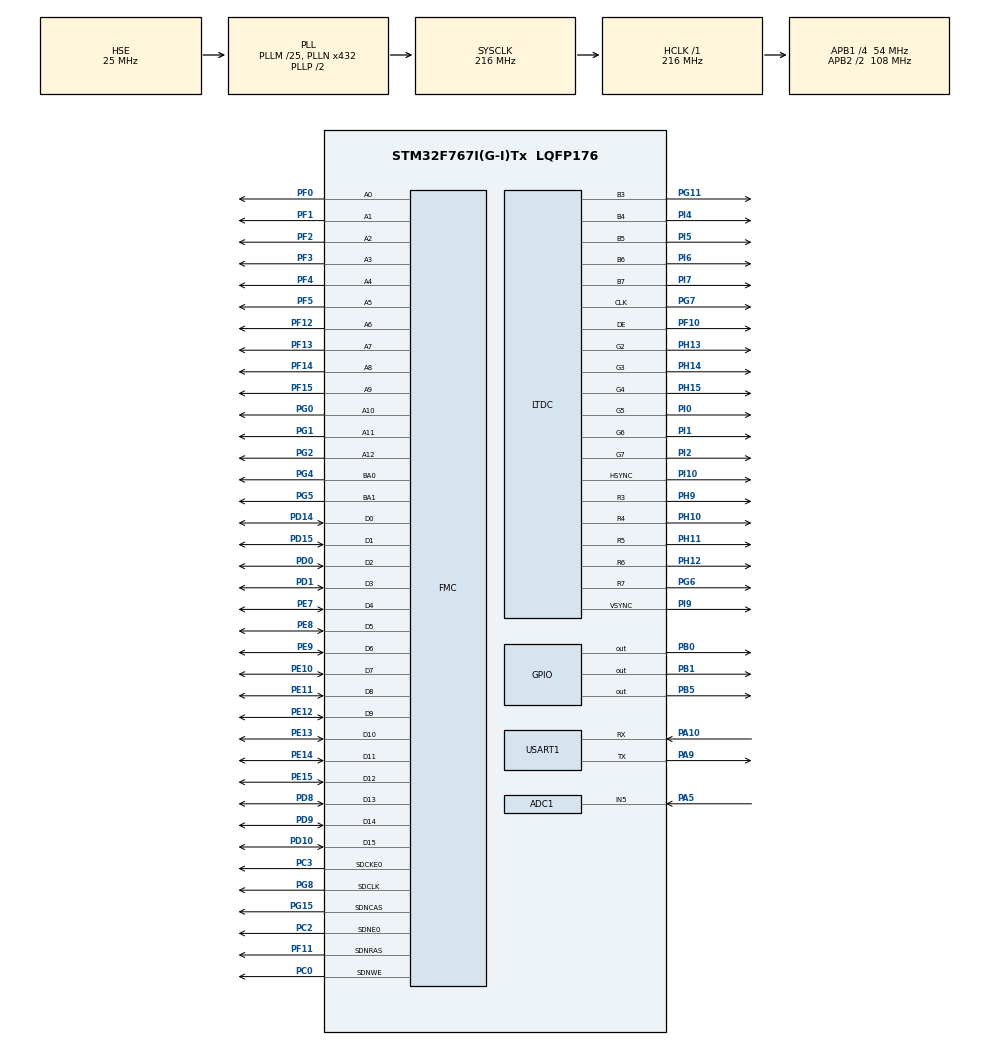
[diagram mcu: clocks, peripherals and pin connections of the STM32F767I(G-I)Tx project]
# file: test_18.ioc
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ADC1.Channel-0\#ChannelRegularConversion=ADC_CHANNEL_5
ADC1.InjNumberOfConversion=0
ADC1.NbrOfConversionFlag=1
ADC1.Rank-0\#ChannelRegularConversion=1
ADC1.SamplingTime-0\#ChannelRegularConversion=ADC_SAMPLETIME_480CYCLES
ADC1.master=1
CORTEX_M7.MPU_Control=__NULL
CORTEX_M7.default_mode_Activation=1
DMA2D.ColorMode=DMA2D_OUTPUT_RGB565
FMC.CASLatency1=FMC_SDRAM_CAS_LATENCY_3
FMC.ColumnBitsNumber1=FMC_SDRAM_COLUMN_BITS_NUM_9
FMC.ExitSelfRefreshDelay1=8
FMC.LoadToActiveDelay1=2
FMC.RCDDelay1=2
FMC.RPDelay1=2
FMC.ReadBurst1=FMC_SDRAM_RBURST_ENABLE
FMC.ReadPipeDelay1=FMC_SDRAM_RPIPE_DELAY_1
FMC.RowCycleDelay1=6
FMC.SDClockPeriod1=FMC_SDRAM_CLOCK_PERIOD_2
FMC.SelfRefreshTime1=6
FMC.WriteRecoveryTime1=4
LTDC.ActiveW=800
LTDC.Alpha_L0=255
LTDC.BlendingFactor1_L0=LTDC_BLENDING_FACTOR1_PAxCA
LTDC.BlendingFactor2_L0=LTDC_BLENDING_FACTOR2_PAxCA
LTDC.FBStartAdress_L0=0xc0000000
LTDC.HBP=88
LTDC.HFP=40
LTDC.HSync=48
LTDC.ImageHeight_L0=480
LTDC.ImageWidth_L0=800
LTDC.ImageWidth_L1=0
LTDC.PixelFormat_L0=LTDC_PIXEL_FORMAT_RGB565
LTDC.PixelFormat_L1=LTDC_PIXEL_FORMAT_RGB565
LTDC.VBP=32
LTDC.VFP=13
LTDC.VSync=3
LTDC.WindowX1_L0=800
LTDC.WindowY1_L0=480
Mcu.Family=STM32F7
Mcu.Name=STM32F767I(G-I)Tx
Mcu.Package=LQFP176
NVIC.PriorityGroup=NVIC_PRIORITYGROUP_4
NVIC.USART1_IRQn=true\:0\:0\:false\:false\:true\:true\:true\:true
PA10.GPIO_PuPd=GPIO_PULLUP
PA10.GPIO_Speed=GPIO_SPEED_FREQ_HIGH
PA10.Mode=Asynchronous
PA10.Signal=USART1_RX
PA5.Signal=ADCx_IN5
PA9.GPIO_ModeDefaultPP=GPIO_MODE_AF_PP
PA9.GPIO_PuPd=GPIO_PULLUP
PA9.GPIO_Speed=GPIO_SPEED_FREQ_HIGH
PA9.Mode=Asynchronous
PA9.Signal=USART1_TX
PB0.GPIO_PuPd=GPIO_PULLUP
PB0.GPIO_Speed=GPIO_SPEED_FREQ_HIGH
PB0.PinState=GPIO_PIN_SET
PB0.Signal=GPIO_Output
PB1.GPIO_PuPd=GPIO_PULLUP
PB1.GPIO_Speed=GPIO_SPEED_FREQ_HIGH
PB1.PinState=GPIO_PIN_SET
PB1.Signal=GPIO_Output
PB5.GPIO_PuPd=GPIO_PULLUP
PB5.GPIO_Speed=GPIO_SPEED_FREQ_HIGH
PB5.Signal=GPIO_Output
PC0.GPIO_Mode=GPIO_MODE_AF_PP
PC0.GPIO_PuPd=GPIO_PULLUP
PC0.GPIO_Speed_High_Default=GPIO_SPEED_FREQ_HIGH
PC0.Signal=FMC_SDNWE
PC14/OSC32_IN.Mode=LSE-External-Oscillator
PC14/OSC32_IN.Signal=RCC_OSC32_IN
PC15/OSC32_OUT.Mode=LSE-External-Oscillator
PC15/OSC32_OUT.Signal=RCC_OSC32_OUT
PC2.GPIO_Mode=GPIO_MODE_AF_PP
PC2.GPIO_PuPd=GPIO_PULLUP
PC2.GPIO_Speed_High_Default=GPIO_SPEED_FREQ_HIGH
PC2.Mode=SdramChipSelect1_1
PC2.Signal=FMC_SDNE0
PC3.GPIO_Mode=GPIO_MODE_AF_PP
PC3.GPIO_PuPd=GPIO_PULLUP
PC3.GPIO_Speed_High_Default=GPIO_SPEED_FREQ_HIGH
PC3.Mode=SdramChipSelect1_1
PC3.Signal=FMC_SDCKE0
PD0.GPIO_Mode=GPIO_MODE_AF_PP
PD0.GPIO_PuPd=GPIO_PULLUP
PD0.GPIO_Speed_High_Default=GPIO_SPEED_FREQ_HIGH
PD0.Signal=FMC_D2_DA2
PD1.GPIO_Mode=GPIO_MODE_AF_PP
PD1.GPIO_PuPd=GPIO_PULLUP
PD1.GPIO_Speed_High_Default=GPIO_SPEED_FREQ_HIGH
PD1.Signal=FMC_D3_DA3
PD10.GPIO_Mode=GPIO_MODE_AF_PP
PD10.GPIO_PuPd=GPIO_PULLUP
PD10.GPIO_Speed_High_Default=GPIO_SPEED_FREQ_HIGH
PD10.Signal=FMC_D15_DA15
PD14.GPIO_Mode=GPIO_MODE_AF_PP
PD14.GPIO_PuPd=GPIO_PULLUP
PD14.GPIO_Speed_High_Default=GPIO_SPEED_FREQ_HIGH
PD14.Signal=FMC_D0_DA0
PD15.GPIO_Mode=GPIO_MODE_AF_PP
PD15.GPIO_PuPd=GPIO_PULLUP
PD15.GPIO_Speed_High_Default=GPIO_SPEED_FREQ_HIGH
PD15.Signal=FMC_D1_DA1
PD8.GPIO_Mode=GPIO_MODE_AF_PP
PD8.GPIO_PuPd=GPIO_PULLUP
PD8.GPIO_Speed_High_Default=GPIO_SPEED_FREQ_HIGH
PD8.Signal=FMC_D13_DA13
PD9.GPIO_Mode=GPIO_MODE_AF_PP
PD9.GPIO_PuPd=GPIO_PULLUP
PD9.GPIO_Speed_High_Default=GPIO_SPEED_FREQ_HIGH
PD9.Signal=FMC_D14_DA14
PE0.GPIO_Mode=GPIO_MODE_AF_PP
PE0.GPIO_PuPd=GPIO_PULLUP
PE0.GPIO_Speed_High_Default=GPIO_SPEED_FREQ_HIGH
PE0.Signal=FMC_NBL0
PE1.GPIO_Mode=GPIO_MODE_AF_PP
PE1.GPIO_PuPd=GPIO_PULLUP
PE1.GPIO_Speed_High_Default=GPIO_SPEED_FREQ_HIGH
PE1.Signal=FMC_NBL1
PE10.GPIO_Mode=GPIO_MODE_AF_PP
PE10.GPIO_PuPd=GPIO_PULLUP
PE10.GPIO_Speed_High_Default=GPIO_SPEED_FREQ_HIGH
PE10.Signal=FMC_D7_DA7
PE11.GPIO_Mode=GPIO_MODE_AF_PP
PE11.GPIO_PuPd=GPIO_PULLUP
PE11.GPIO_Speed_High_Default=GPIO_SPEED_FREQ_HIGH
PE11.Signal=FMC_D8_DA8
PE12.GPIO_Mode=GPIO_MODE_AF_PP
PE12.GPIO_PuPd=GPIO_PULLUP
PE12.GPIO_Speed_High_Default=GPIO_SPEED_FREQ_HIGH
PE12.Signal=FMC_D9_DA9
PE13.GPIO_Mode=GPIO_MODE_AF_PP
PE13.GPIO_PuPd=GPIO_PULLUP
PE13.GPIO_Speed_High_Default=GPIO_SPEED_FREQ_HIGH
PE13.Signal=FMC_D10_DA10
PE14.GPIO_Mode=GPIO_MODE_AF_PP
PE14.GPIO_PuPd=GPIO_PULLUP
PE14.GPIO_Speed_High_Default=GPIO_SPEED_FREQ_HIGH
PE14.Signal=FMC_D11_DA11
PE15.GPIO_Mode=GPIO_MODE_AF_PP
PE15.GPIO_PuPd=GPIO_PULLUP
PE15.GPIO_Speed_High_Default=GPIO_SPEED_FREQ_HIGH
PE15.Signal=FMC_D12_DA12
PE7.GPIO_Mode=GPIO_MODE_AF_PP
PE7.GPIO_PuPd=GPIO_PULLUP
PE7.GPIO_Speed_High_Default=GPIO_SPEED_FREQ_HIGH
PE7.Signal=FMC_D4_DA4
PE8.GPIO_Mode=GPIO_MODE_AF_PP
PE8.GPIO_PuPd=GPIO_PULLUP
PE8.GPIO_Speed_High_Default=GPIO_SPEED_FREQ_HIGH
PE8.Signal=FMC_D5_DA5
PE9.GPIO_Mode=GPIO_MODE_AF_PP
PE9.GPIO_PuPd=GPIO_PULLUP
PE9.GPIO_Speed_High_Default=GPIO_SPEED_FREQ_HIGH
PE9.Signal=FMC_D6_DA6
PF0.GPIO_Mode=GPIO_MODE_AF_PP
PF0.GPIO_PuPd=GPIO_PULLUP
PF0.GPIO_Speed_High_Default=GPIO_SPEED_FREQ_HIGH
PF0.Signal=FMC_A0
PF1.GPIO_Mode=GPIO_MODE_AF_PP
PF1.GPIO_PuPd=GPIO_PULLUP
PF1.GPIO_Speed_High_Default=GPIO_SPEED_FREQ_HIGH
PF1.Signal=FMC_A1
PF10.GPIO_PuPd=GPIO_NOPULL
PF10.GPIO_Speed=GPIO_SPEED_FREQ_HIGH
PF10.Mode=RGB565
PF10.Signal=LTDC_DE
PF11.GPIO_Mode=GPIO_MODE_AF_PP
PF11.GPIO_PuPd=GPIO_PULLUP
PF11.GPIO_Speed_High_Default=GPIO_SPEED_FREQ_HIGH
PF11.Signal=FMC_SDNRAS
PF12.GPIO_Mode=GPIO_MODE_AF_PP
PF12.GPIO_PuPd=GPIO_PULLUP
PF12.GPIO_Speed_High_Default=GPIO_SPEED_FREQ_HIGH
PF12.Signal=FMC_A6
PF13.GPIO_Mode=GPIO_MODE_AF_PP
PF13.GPIO_PuPd=GPIO_PULLUP
PF13.GPIO_Speed_High_Default=GPIO_SPEED_FREQ_HIGH
PF13.Signal=FMC_A7
PF14.GPIO_Mode=GPIO_MODE_AF_PP
PF14.GPIO_PuPd=GPIO_PULLUP
PF14.GPIO_Speed_High_Default=GPIO_SPEED_FREQ_HIGH
PF14.Signal=FMC_A8
PF15.GPIO_Mode=GPIO_MODE_AF_PP
PF15.GPIO_PuPd=GPIO_PULLUP
PF15.GPIO_Speed_High_Default=GPIO_SPEED_FREQ_HIGH
PF15.Signal=FMC_A9
PF2.GPIO_Mode=GPIO_MODE_AF_PP
PF2.GPIO_PuPd=GPIO_PULLUP
PF2.GPIO_Speed_High_Default=GPIO_SPEED_FREQ_HIGH
PF2.Signal=FMC_A2
PF3.GPIO_Mode=GPIO_MODE_AF_PP
PF3.GPIO_PuPd=GPIO_PULLUP
PF3.GPIO_Speed_High_Default=GPIO_SPEED_FREQ_HIGH
PF3.Signal=FMC_A3
PF4.GPIO_Mode=GPIO_MODE_AF_PP
PF4.GPIO_PuPd=GPIO_PULLUP
PF4.GPIO_Speed_High_Default=GPIO_SPEED_FREQ_HIGH
PF4.Signal=FMC_A4
PF5.GPIO_Mode=GPIO_MODE_AF_PP
PF5.GPIO_PuPd=GPIO_PULLUP
PF5.GPIO_Speed_High_Default=GPIO_SPEED_FREQ_HIGH
PF5.Signal=FMC_A5
PG0.GPIO_Mode=GPIO_MODE_AF_PP
PG0.GPIO_PuPd=GPIO_PULLUP
PG0.GPIO_Speed_High_Default=GPIO_SPEED_FREQ_HIGH
PG0.Signal=FMC_A10
PG1.GPIO_Mode=GPIO_MODE_AF_PP
PG1.GPIO_PuPd=GPIO_PULLUP
PG1.GPIO_Speed_High_Default=GPIO_SPEED_FREQ_HIGH
PG1.Signal=FMC_A11
PG11.GPIO_Mode=GPIO_MODE_AF_PP
PG11.GPIO_PuPd=GPIO_NOPULL
PG11.GPIO_Speed=GPIO_SPEED_FREQ_HIGH
PG11.Mode=RGB565
PG11.Signal=LTDC_B3
PG15.GPIO_Mode=GPIO_MODE_AF_PP
PG15.GPIO_PuPd=GPIO_PULLUP
PG15.GPIO_Speed_High_Default=GPIO_SPEED_FREQ_HIGH
PG15.Signal=FMC_SDNCAS
PG2.GPIO_Mode=GPIO_MODE_AF_PP
PG2.GPIO_PuPd=GPIO_PULLUP
PG2.GPIO_Speed_High_Default=GPIO_SPEED_FREQ_HIGH
PG2.Signal=FMC_A12
PG4.GPIO_Mode=GPIO_MODE_AF_PP
PG4.GPIO_PuPd=GPIO_PULLUP
PG4.GPIO_Speed_High_Default=GPIO_SPEED_FREQ_HIGH
PG4.Signal=FMC_A14_BA0
PG5.GPIO_Mode=GPIO_MODE_AF_PP
PG5.GPIO_PuPd=GPIO_PULLUP
PG5.GPIO_Speed_High_Default=GPIO_SPEED_FREQ_HIGH
PG5.Signal=FMC_A15_BA1
PG6.GPIO_Mode=GPIO_MODE_AF_PP
PG6.GPIO_PuPd=GPIO_NOPULL
PG6.GPIO_Speed=GPIO_SPEED_FREQ_HIGH
PG6.Mode=RGB565
PG6.Signal=LTDC_R7
PG7.GPIO_Mode=GPIO_MODE_AF_PP
PG7.GPIO_PuPd=GPIO_NOPULL
PG7.GPIO_Speed=GPIO_SPEED_FREQ_HIGH
PG7.Mode=RGB565
PG7.Signal=LTDC_CLK
PG8.GPIO_Mode=GPIO_MODE_AF_PP
PG8.GPIO_PuPd=GPIO_PULLUP
PG8.GPIO_Speed_High_Default=GPIO_SPEED_FREQ_HIGH
PG8.Signal=FMC_SDCLK
PH0/OSC_IN.Mode=HSE-External-Oscillator
PH0/OSC_IN.Signal=RCC_OSC_IN
PH1/OSC_OUT.Mode=HSE-External-Oscillator
PH1/OSC_OUT.Signal=RCC_OSC_OUT
PH10.GPIO_Mode=GPIO_MODE_AF_PP
PH10.GPIO_PuPd=GPIO_NOPULL
PH10.GPIO_Speed=GPIO_SPEED_FREQ_HIGH
PH10.Mode=RGB565
PH10.Signal=LTDC_R4
PH11.GPIO_Mode=GPIO_MODE_AF_PP
PH11.GPIO_PuPd=GPIO_NOPULL
PH11.GPIO_Speed=GPIO_SPEED_FREQ_HIGH
PH11.Mode=RGB565
PH11.Signal=LTDC_R5
PH12.GPIO_Mode=GPIO_MODE_AF_PP
PH12.GPIO_PuPd=GPIO_NOPULL
PH12.GPIO_Speed=GPIO_SPEED_FREQ_HIGH
PH12.Mode=RGB565
PH12.Signal=LTDC_R6
PH13.GPIO_Mode=GPIO_MODE_AF_PP
PH13.GPIO_PuPd=GPIO_NOPULL
PH13.GPIO_Speed=GPIO_SPEED_FREQ_HIGH
PH13.Mode=RGB565
PH13.Signal=LTDC_G2
PH14.GPIO_Mode=GPIO_MODE_AF_PP
PH14.GPIO_PuPd=GPIO_NOPULL
PH14.GPIO_Speed=GPIO_SPEED_FREQ_HIGH
PH14.Mode=RGB565
PH14.Signal=LTDC_G3
PH15.GPIO_Mode=GPIO_MODE_AF_PP
PH15.GPIO_PuPd=GPIO_NOPULL
PH15.GPIO_Speed=GPIO_SPEED_FREQ_HIGH
PH15.Mode=RGB565
PH15.Signal=LTDC_G4
PH9.GPIO_Mode=GPIO_MODE_AF_PP
PH9.GPIO_PuPd=GPIO_NOPULL
PH9.GPIO_Speed=GPIO_SPEED_FREQ_HIGH
PH9.Mode=RGB565
PH9.Signal=LTDC_R3
PI0.GPIO_Mode=GPIO_MODE_AF_PP
PI0.GPIO_PuPd=GPIO_NOPULL
PI0.GPIO_Speed=GPIO_SPEED_FREQ_HIGH
PI0.Mode=RGB565
PI0.Signal=LTDC_G5
PI1.GPIO_Mode=GPIO_MODE_AF_PP
PI1.GPIO_PuPd=GPIO_NOPULL
PI1.GPIO_Speed=GPIO_SPEED_FREQ_HIGH
PI1.Mode=RGB565
PI1.Signal=LTDC_G6
PI10.GPIO_Mode=GPIO_MODE_AF_PP
PI10.GPIO_PuPd=GPIO_NOPULL
PI10.GPIO_Speed=GPIO_SPEED_FREQ_HIGH
PI10.Mode=RGB565
PI10.Signal=LTDC_HSYNC
PI2.GPIO_Mode=GPIO_MODE_AF_PP
PI2.GPIO_PuPd=GPIO_NOPULL
PI2.GPIO_Speed=GPIO_SPEED_FREQ_HIGH
PI2.Mode=RGB565
PI2.Signal=LTDC_G7
PI4.GPIO_Mode=GPIO_MODE_AF_PP
PI4.GPIO_PuPd=GPIO_NOPULL
PI4.GPIO_Speed=GPIO_SPEED_FREQ_HIGH
PI4.Mode=RGB565
PI4.Signal=LTDC_B4
PI5.GPIO_Mode=GPIO_MODE_AF_PP
PI5.GPIO_PuPd=GPIO_NOPULL
PI5.GPIO_Speed=GPIO_SPEED_FREQ_HIGH
PI5.Mode=RGB565
PI5.Signal=LTDC_B5
PI6.GPIO_Mode=GPIO_MODE_AF_PP
PI6.GPIO_PuPd=GPIO_NOPULL
PI6.GPIO_Speed=GPIO_SPEED_FREQ_HIGH
PI6.Mode=RGB565
PI6.Signal=LTDC_B6
PI7.GPIO_Mode=GPIO_MODE_AF_PP
PI7.GPIO_PuPd=GPIO_NOPULL
PI7.GPIO_Speed=GPIO_SPEED_FREQ_HIGH
PI7.Mode=RGB565
PI7.Signal=LTDC_B7
PI9.GPIO_Mode=GPIO_MODE_AF_PP
PI9.GPIO_PuPd=GPIO_NOPULL
PI9.GPIO_Speed=GPIO_SPEED_FREQ_HIGH
PI9.Mode=RGB565
PI9.Signal=LTDC_VSYNC
ProjectManager.HeapSize=0x200
ProjectManager.StackSize=0x400
ProjectManager.TargetToolchain=MDK-ARM V5.32
RCC.AHBFreq_Value=216000000
RCC.APB1CLKDivider=RCC_HCLK_DIV4
RCC.APB1Freq_Value=54000000
RCC.APB1TimFreq_Value=108000000
RCC.APB2CLKDivider=RCC_HCLK_DIV2
RCC.APB2Freq_Value=108000000
RCC.APB2TimFreq_Value=216000000
RCC.CortexFreq_Value=216000000
RCC.HCLKFreq_Value=216000000
RCC.HSE_VALUE=25000000
RCC.HSI_VALUE=16000000
RCC.PLLM=25
RCC.PLLN=432
RCC.PLLSAIN=396
RCC.PLLSAIR=3
RCC.PLLSAIRDiv=RCC_PLLSAIDIVR_4
RCC.PLLSourceVirtual=RCC_PLLSOURCE_HSE
RCC.SYSCLKFreq_VALUE=216000000
RCC.SYSCLKSource=RCC_SYSCLKSOURCE_PLLCLK
RCC.USBFreq_Value=216000000
RCC.VCOOutputFreq_Value=432000000
SH.ADCx_IN5.0=ADC1_IN5,IN5
SH.FMC_A0.0=FMC_A0,13b-sda1
SH.FMC_A1.0=FMC_A1,13b-sda1
SH.FMC_A10.0=FMC_A10,13b-sda1
SH.FMC_A11.0=FMC_A11,13b-sda1
SH.FMC_A12.0=FMC_A12,13b-sda1
SH.FMC_A14_BA0.0=FMC_BA0,FourSdramBanks1
SH.FMC_A15_BA1.0=FMC_BA1,FourSdramBanks1
SH.FMC_A2.0=FMC_A2,13b-sda1
SH.FMC_A3.0=FMC_A3,13b-sda1
SH.FMC_A4.0=FMC_A4,13b-sda1
SH.FMC_A5.0=FMC_A5,13b-sda1
SH.FMC_A6.0=FMC_A6,13b-sda1
SH.FMC_A7.0=FMC_A7,13b-sda1
SH.FMC_A8.0=FMC_A8,13b-sda1
SH.FMC_A9.0=FMC_A9,13b-sda1
SH.FMC_D0_DA0.0=FMC_D0,sd-16b-d1
SH.FMC_D10_DA10.0=FMC_D10,sd-16b-d1
SH.FMC_D11_DA11.0=FMC_D11,sd-16b-d1
SH.FMC_D12_DA12.0=FMC_D12,sd-16b-d1
SH.FMC_D13_DA13.0=FMC_D13,sd-16b-d1
SH.FMC_D14_DA14.0=FMC_D14,sd-16b-d1
SH.FMC_D15_DA15.0=FMC_D15,sd-16b-d1
SH.FMC_D1_DA1.0=FMC_D1,sd-16b-d1
SH.FMC_D2_DA2.0=FMC_D2,sd-16b-d1
SH.FMC_D3_DA3.0=FMC_D3,sd-16b-d1
SH.FMC_D4_DA4.0=FMC_D4,sd-16b-d1
SH.FMC_D5_DA5.0=FMC_D5,sd-16b-d1
SH.FMC_D6_DA6.0=FMC_D6,sd-16b-d1
SH.FMC_D7_DA7.0=FMC_D7,sd-16b-d1
SH.FMC_D8_DA8.0=FMC_D8,sd-16b-d1
SH.FMC_D9_DA9.0=FMC_D9,sd-16b-d1
SH.FMC_NBL0.0=FMC_NBL0
SH.FMC_NBL1.0=FMC_NBL1
SH.FMC_SDCLK.0=FMC_SDCLK,13b-sda1
SH.FMC_SDNCAS.0=FMC_SDNCAS,13b-sda1
SH.FMC_SDNRAS.0=FMC_SDNRAS,13b-sda1
SH.FMC_SDNWE.0=FMC_SDNWE,13b-sda1
USART1.VirtualMode-Asynchronous=VM_ASYNC
VP_DMA2D_VS_DMA2D.Mode=DMA2D_Activate
board=custom

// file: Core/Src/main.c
/* USER CODE BEGIN Header */
/**
  ******************************************************************************
  * @file           : main.c
  * @brief          : Main program body
  ******************************************************************************
  * @attention
  *
  * Copyright (c) 2022 STMicroelectronics.
  * All rights reserved.
  *
  * This software is licensed under terms that can be found in the LICENSE file
  * in the root directory of this software component.
  * If no LICENSE file comes with this software, it is provided AS-IS.
  *
  ******************************************************************************
  */
/* USER CODE END Header */
#include "main.h"
#include "adc.h"
#include "dma2d.h"
#include "ltdc.h"
#include "usart.h"
#include "gpio.h"
#include "fmc.h"

/* USER CODE BEGIN Includes */
#include "stdio.h"
#include "lcd.h"
/* USER CODE END Includes */

void SystemClock_Config(void);

/* USER CODE BEGIN 0 */
//加入以下代码,支持printf函数,而不需要选择use MicroLIB
#if 1
#pragma import(__use_no_semihosting)
//解决HAL库使用时,某些情况可能报错的bug
int _ttywrch(int ch)
{
    ch=ch;
	return ch;
}
//标准库需要的支持函数
struct __FILE
{
	int handle;
	/* Whatever you require here. If the only file you are using is */
	/* standard output using printf() for debugging, no file handling */
	/* is required. */
};
/* FILE is typedef’ d in stdio.h. */
FILE __stdout;
//定义_sys_exit()以避免使用半主机模式
void _sys_exit(int x)
{
	x = x;
}
//重定义fputc函数
int fputc(int ch, FILE *f)
{
	while((USART1->ISR&0X40)==0);//循环发送,直到发送完毕
	USART1->TDR = (uint8_t) ch;
	return ch;
}
#endif
/* USER CODE END 0 */

int main(void)
{
  /* USER CODE BEGIN 1 */
    uint16_t adcx;
	float temp;
  /* USER CODE END 1 */

  /* MCU Configuration--------------------------------------------------------*/

  /* Reset of all peripherals, Initializes the Flash interface and the Systick. */
  HAL_Init();

  /* Configure the system clock */
  SystemClock_Config();

  /* Initialize all configured peripherals */
  MX_GPIO_Init();
  MX_DMA2D_Init();
  MX_FMC_Init();
  MX_LTDC_Init();
  MX_USART1_UART_Init();
  MX_ADC1_Init();
  /* USER CODE BEGIN 2 */
	MX_FMC_Init();
	SDRAM_Initialization_Sequence(&hsdram1);//发送SDRAM初始化序列
	MX_LTDC_Init();
	LCD_Init();
	printf("初始化完毕");

	POINT_COLOR=RED;
	LCD_ShowString(30,50,200,16,16,(uint8_t*)"Apollo STM32F4/F7");
	LCD_ShowString(30,70,200,16,16,(uint8_t*)"ADC TEST");
	LCD_ShowString(30,90,200,16,16,(uint8_t*)"ATOM@ALIENTEK");
	LCD_ShowString(30,110,200,16,16,(uint8_t*)"2022/8/5");
	POINT_COLOR=BLUE;//设置字体为蓝色
	LCD_ShowString(30,130,200,16,16,(uint8_t*)"ADC1_CH5_VAL:");
	LCD_ShowString(30,150,200,16,16,(uint8_t*)"ADC1_CH5_VOL:0.000V");	//先在固定位置显示小数点

  /* USER CODE END 2 */

  /* Infinite loop */
  /* USER CODE BEGIN WHILE */
  while (1)
  {
	adcx=Get_Adc_Average(20);			  //获取通道5的转换值，20次取平均
	LCD_ShowxNum(134,130,adcx,4,16,0);    //显示ADCC采样后的原始值
	temp=(float)adcx*(3.3/4096);          //获取计算后的带小数的实际电压值，比如3.1111
	adcx=temp;                            //赋值整数部分给adcx变量，因为adcx为u16整形
	LCD_ShowxNum(134,150,adcx,1,16,0);    //显示电压值的整数部分，3.1111的话，这里就是显示3
	temp-=adcx;                           //把已经显示的整数部分去掉，留下小数部分，比如3.1111-3=0.1111
	temp*=1000;                           //小数部分乘以1000，例如：0.1111就转换为111.1，相当于保留三位小数。
	LCD_ShowxNum(150,150,temp,3,16,0X80); //显示小数部分（前面转换为了整形显示），这里显示的就是111.

	HAL_GPIO_TogglePin(LED0_GPIO_Port,LED0_Pin);
	HAL_Delay(250);
    /* USER CODE END WHILE */

  }
}

void SystemClock_Config(void)
{
  RCC_OscInitTypeDef RCC_OscInitStruct = {0};
  RCC_ClkInitTypeDef RCC_ClkInitStruct = {0};

  /** Configure LSE Drive Capability
  */
  HAL_PWR_EnableBkUpAccess();

  /** Configure the main internal regulator output voltage
  */
  __HAL_RCC_PWR_CLK_ENABLE();
  __HAL_PWR_VOLTAGESCALING_CONFIG(PWR_REGULATOR_VOLTAGE_SCALE1);

  /** Initializes the RCC Oscillators according to the specified parameters
  * in the RCC_OscInitTypeDef structure.
  */
  RCC_OscInitStruct.OscillatorType = RCC_OSCILLATORTYPE_HSE;
  RCC_OscInitStruct.HSEState = RCC_HSE_ON;
  RCC_OscInitStruct.PLL.PLLState = RCC_PLL_ON;
  RCC_OscInitStruct.PLL.PLLSource = RCC_PLLSOURCE_HSE;
  RCC_OscInitStruct.PLL.PLLM = 25;
  RCC_OscInitStruct.PLL.PLLN = 432;
  RCC_OscInitStruct.PLL.PLLP = RCC_PLLP_DIV2;
  RCC_OscInitStruct.PLL.PLLQ = 2;
  RCC_OscInitStruct.PLL.PLLR = 2;
  if (HAL_RCC_OscConfig(&RCC_OscInitStruct) != HAL_OK)
  {
    Error_Handler();
  }

  /** Activate the Over-Drive mode
  */
  if (HAL_PWREx_EnableOverDrive() != HAL_OK)
  {
    Error_Handler();
  }

  /** Initializes the CPU, AHB and APB buses clocks
  */
  RCC_ClkInitStruct.ClockType = RCC_CLOCKTYPE_HCLK|RCC_CLOCKTYPE_SYSCLK
                              |RCC_CLOCKTYPE_PCLK1|RCC_CLOCKTYPE_PCLK2;
  RCC_ClkInitStruct.SYSCLKSource = RCC_SYSCLKSOURCE_PLLCLK;
  RCC_ClkInitStruct.AHBCLKDivider = RCC_SYSCLK_DIV1;
  RCC_ClkInitStruct.APB1CLKDivider = RCC_HCLK_DIV4;
  RCC_ClkInitStruct.APB2CLKDivider = RCC_HCLK_DIV2;

  if (HAL_RCC_ClockConfig(&RCC_ClkInitStruct, FLASH_LATENCY_7) != HAL_OK)
  {
    Error_Handler();
  }
}

void Error_Handler(void)
{
  __disable_irq();
  while (1)
  {
  }
}
